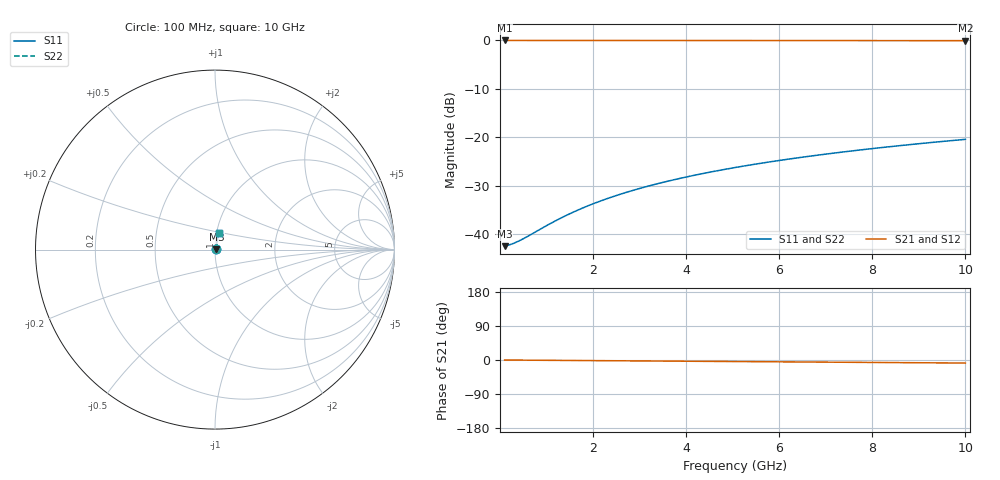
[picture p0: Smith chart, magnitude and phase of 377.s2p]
# Hz S RI R 50.00
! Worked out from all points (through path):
!   100 points, 100 MHz to 10 GHz, reference 50 ohm
!   highest |S21| = -0.06 dB at 100 MHz (marker M1); lowest = -0.1 dB at 10 GHz (marker M2)
!   group delay of S21, straight-line fit = 2.23 ps
!   lowest |S11| = -42.5 dB at 100 MHz (marker M3), VSWR 1.02, Z = 50.7 + j0.0953 ohm
!   |S11| at or under -10 dB: start of sweep to end of sweep
!   |S22| runs from -42.5 to -20.5 dB; largest |S21 - S12| = 0
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1e8  0.00744 0.000939  0.9926 -0.00139  0.9926 -0.00139  0.00744 0.000939
2e8  0.00749 0.00188  0.9925 -0.00279  0.9925 -0.00279  0.00749 0.00188
3e8  0.00753 0.00282  0.9925 -0.00418  0.9925 -0.00418  0.00753 0.00282
4e8  0.00757 0.00375  0.9924 -0.00558  0.9924 -0.00558  0.00757 0.00375
6e8  0.00764 0.00563  0.9923 -0.00837  0.9923 -0.00837  0.00764 0.00563
1e9  0.0078 0.00938  0.9922 -0.0139  0.9922 -0.0139  0.0078 0.00938
1.2e9  0.00788 0.0113  0.9921 -0.0167  0.9921 -0.0167  0.00788 0.0113
1.5e9  0.00802 0.0141  0.9919 -0.0209  0.9919 -0.0209  0.00802 0.0141
1.8e9  0.00819 0.0169  0.9918 -0.0251  0.9918 -0.0251  0.00819 0.0169
2.1e9  0.00837 0.0197  0.9916 -0.0293  0.9916 -0.0293  0.00837 0.0197
2.5e9  0.00864 0.0234  0.9913 -0.0348  0.9913 -0.0348  0.00864 0.0234
2.9e9  0.00896 0.0272  0.9909 -0.0404  0.9909 -0.0404  0.00896 0.0272
3.4e9  0.00941 0.0318  0.9905 -0.0473  0.9905 -0.0473  0.00941 0.0318
3.8e9  0.00981 0.0356  0.99 -0.0529  0.99 -0.0529  0.00981 0.0356
4.2e9  0.0103 0.0393  0.9895 -0.0585  0.9895 -0.0585  0.0103 0.0393
4.6e9  0.0107 0.043  0.989 -0.064  0.989 -0.064  0.0107 0.043
5.1e9  0.0114 0.0476  0.9883 -0.0709  0.9883 -0.0709  0.0114 0.0476
5.9e9  0.0126 0.055  0.987 -0.082  0.987 -0.082  0.0126 0.055
6.7e9  0.014 0.0624  0.9855 -0.093  0.9855 -0.093  0.014 0.0624
7.5e9  0.0155 0.0697  0.9839 -0.104  0.9839 -0.104  0.0155 0.0697
8.4e9  0.0174 0.0779  0.9818 -0.1163  0.9818 -0.1163  0.0174 0.0779
1e10  0.0213 0.0924  0.9776 -0.1381  0.9776 -0.1381  0.0213 0.0924
